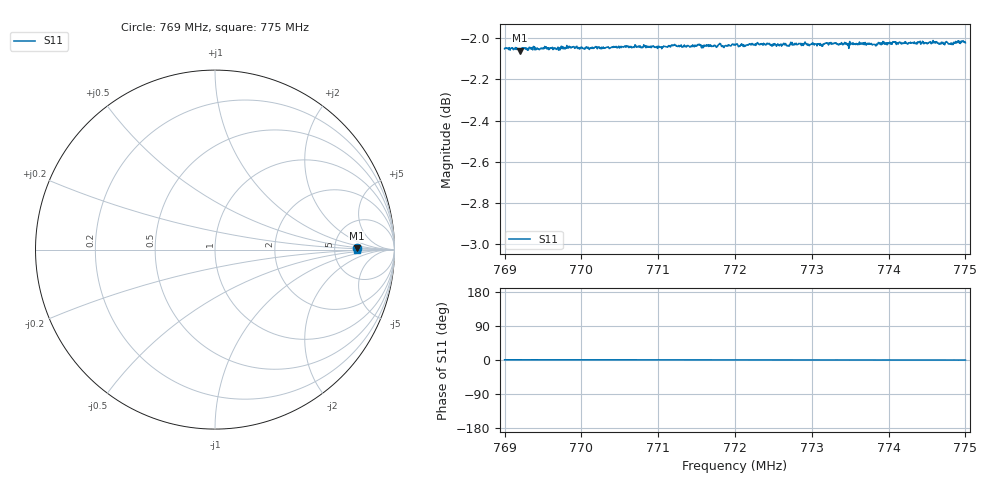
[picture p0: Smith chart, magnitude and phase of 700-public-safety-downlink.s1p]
! Calibrated averaged scanner-service zoom
# Hz S RI R 50
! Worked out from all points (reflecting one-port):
!   1001 points, 769 MHz to 775 MHz, reference 50 ohm
!   lowest |S11| = -2.1 dB at 769.198 MHz (marker M1), VSWR 8.47, Z = 423 + j18.6 ohm
!   phase of S11 starts at 1 deg and turns -1 deg over the sweep
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7.69e8  0.7896 0.00822
7.69102e8  0.7898 0.00883
7.6915e8  0.7893 0.00579
7.69198e8  0.7889 0.0083
7.6936e8  0.7899 0.00741
7.69426e8  0.79 0.0075
7.6975e8  0.7906 0.00661
7.705e8  0.7902 0.00596
7.7125e8  0.7907 0.00494
7.71346e8  0.7908 0.00395
7.71526e8  0.7915 0.00346
7.71574e8  0.7911 0.00451
7.71808e8  0.7918 0.00343
7.7185e8  0.7907 0.00378
7.72e8  0.7913 0.00385
7.7269e8  0.7908 0.00192
7.7275e8  0.7913 0.00176
7.73086e8  0.7919 0.00142
7.73308e8  0.7922 0.00135
7.735e8  0.7914 -0.000399
7.73818e8  0.7916 0.000234
7.74064e8  0.7927 -8.78e-05
7.7425e8  0.792 -0.000994
7.74478e8  0.7924 -0.000838
7.74604e8  0.7928 -0.000653
7.74814e8  0.7922 -0.0018
7.7494e8  0.7925 -0.0011
7.75e8  0.7923 -0.001
